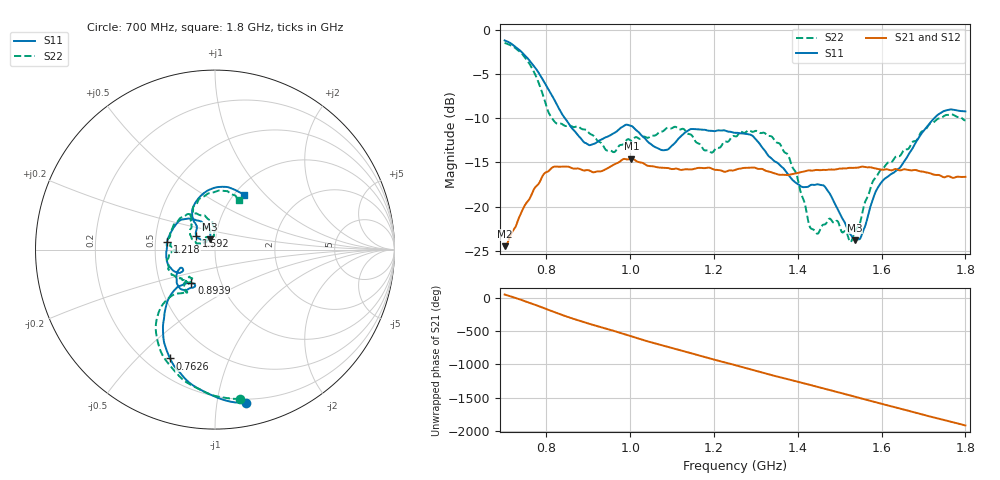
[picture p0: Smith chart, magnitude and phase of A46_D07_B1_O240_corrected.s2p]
! Created with skrf 1.9.0 (http://scikit-rf.org).
# Hz S RI R 50.0
!freq ReS11 ImS11 ReS21 ImS21 ReS12 ImS12 ReS22 ImS22
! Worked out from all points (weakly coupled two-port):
!   1601 points, 700 MHz to 1.8 GHz, reference 50 ohm
!   highest |S21| = -14.56 dB at 1.002 GHz (marker M1); lowest = -24.5 dB at 700.7 MHz (marker M2)
!   lowest |S11| = -23.8 dB at 1.536 GHz (marker M3), VSWR 1.14, Z = 46.9 + j5.46 ohm
!   |S11| at or under -10 dB: 844.1 MHz to 1.725 GHz (881.2 MHz wide, 68.6 % of centre)
!   |S22| runs from -24.0 to -1.5 dB; largest |S21 - S12| = 0.0035
!   S11 on the Smith chart (normalised r, x): 700 MHz: 0.17, -1.21; 762.6 MHz: 0.29, -0.63; 893.9 MHz: 0.72, -0.28; 1.218 GHz: 0.58, +0.05; 1.592 GHz: 0.80, +0.12; 1.8 GHz: 1.11, +0.77
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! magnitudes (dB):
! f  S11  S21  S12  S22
! 700 MHz  -1.2  -24.5  -24.3  -1.5
! 700.7 MHz  -1.2  -24.5  -24.2  -1.5
! 762.6 MHz  -3.7  -18.8  -18.8  -4.1
! 817.6 MHz  -7.8  -15.5  -15.6  -10.3
! 883.6 MHz  -12.4  -15.8  -15.7  -11.2
! 893.9 MHz  -12.8  -15.9  -16.0  -11.3
! 957.8 MHz  -11.8  -15.3  -15.3  -13.8
! 1.002 GHz  -10.9  -14.6  -14.7  -12.5
! 1.067 GHz  -13.4  -15.6  -15.5  -11.6
! 1.144 GHz  -11.2  -15.8  -15.8  -11.8
! 1.218 GHz  -11.4  -15.9  -15.9  -13.1
! 1.25 GHz  -11.6  -15.8  -15.8  -12.0
! 1.357 GHz  -15.3  -16.4  -16.3  -12.9
! 1.396 GHz  -17.3  -16.2  -16.2  -16.2
! 1.434 GHz  -17.5  -15.9  -15.9  -22.5
! 1.467 GHz  -17.9  -15.8  -15.8  -21.9
! 1.536 GHz  -23.8  -15.6  -15.6  -22.8
! 1.552 GHz  -23.2  -15.5  -15.5  -21.0
! 1.592 GHz  -17.8  -15.7  -15.7  -16.3
! 1.617 GHz  -16.5  -15.8  -15.8  -15.0
! 1.733 GHz  -9.7  -16.4  -16.4  -10.1
! 1.8 GHz  -9.2  -16.6  -16.6  -10.2
